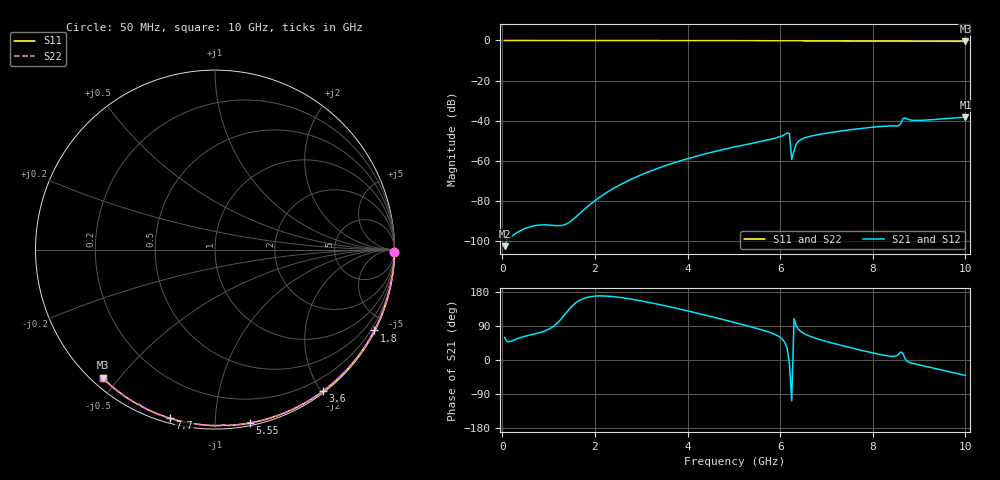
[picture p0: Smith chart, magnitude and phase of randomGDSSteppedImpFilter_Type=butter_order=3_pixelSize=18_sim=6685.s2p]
! freq	dB(S11)	phase(S11)	dB(S12)	phase(S12)
!  dB(S21)	phase(S21)	dB(S22)	phase(S22)
!S-par simulation data
#  GHz  S  DB  R 50
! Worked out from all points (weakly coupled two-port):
!   200 points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, 50 MHz to 10 GHz, reference 50 ohm
!   highest |S21| = -38.23 dB at 10 GHz (marker M1); lowest = -102.6 dB at 50 MHz (marker M2)
!   lowest |S11| = -0.4 dB at 10 GHz (marker M3), VSWR 39.04, Z = 1.54 - j22.6 ohm
!   |S11| at or under -10 dB: nowhere
!   |S22| runs from -0.4 to 0.0 dB; largest |S21 - S12| = 0
!   S11 on the Smith chart (normalised r, x): 50 MHz: open; 1.8 GHz: 0.04, -4.18; 3.6 GHz: 0.02, -2.02; 5.55 GHz: 0.02, -1.22; 7.7 GHz: 0.02, -0.77; 10 GHz: 0.03, -0.45
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0.05  -0.00 -0.8  -102.60 59.2  -102.60 59.2  -0.00 -0.8
1.75  -0.03 -26.2  -84.67 162.1  -84.67 162.1  -0.03 -26.2
1.8  -0.03 -26.9  -83.65 164.2  -83.65 164.2  -0.03 -26.9
2  -0.04 -29.8  -79.91 168.6  -79.91 168.6  -0.04 -29.8
2.65  -0.05 -39.2  -70.71 163.3  -70.71 163.3  -0.05 -39.2
3.4  -0.07 -49.8  -63.42 146.1  -63.42 146.1  -0.07 -49.8
3.6  -0.07 -52.6  -61.83 140.8  -61.83 140.8  -0.07 -52.6
5.05  -0.11 -72.1  -52.94 98.0  -52.94 98.0  -0.11 -72.1
5.55  -0.13 -78.6  -50.54 81.5  -50.54 81.5  -0.13 -78.6
6.2  -0.19 -87.0  -46.40 -8.2  -46.40 -8.2  -0.19 -87.0
6.25  -0.20 -87.3  -59.32 -107.7  -59.32 -107.7  -0.20 -87.3
6.35  -0.17 -88.6  -51.50 89.1  -51.50 89.1  -0.17 -88.6
6.4  -0.17 -89.2  -50.18 80.5  -50.18 80.5  -0.17 -89.2
6.7  -0.18 -92.9  -47.52 60.1  -47.52 60.1  -0.18 -92.9
7.7  -0.24 -104.9  -44.02 27.2  -44.02 27.2  -0.24 -104.9
8.35  -0.29 -112.6  -42.66 10.3  -42.66 10.3  -0.29 -112.6
8.55  -0.31 -114.9  -42.57 14.0  -42.57 14.0  -0.31 -114.9
8.6  -0.33 -115.5  -41.65 20.9  -41.65 20.9  -0.33 -115.5
8.65  -0.35 -116.0  -39.04 17.5  -39.04 17.5  -0.35 -116.0
8.7  -0.34 -116.4  -38.66 2.4  -38.66 2.4  -0.34 -116.4
9  -0.34 -119.9  -39.87 -12.9  -39.87 -12.9  -0.34 -119.9
10  -0.45 -131.3  -38.23 -40.8  -38.23 -40.8  -0.45 -131.3
